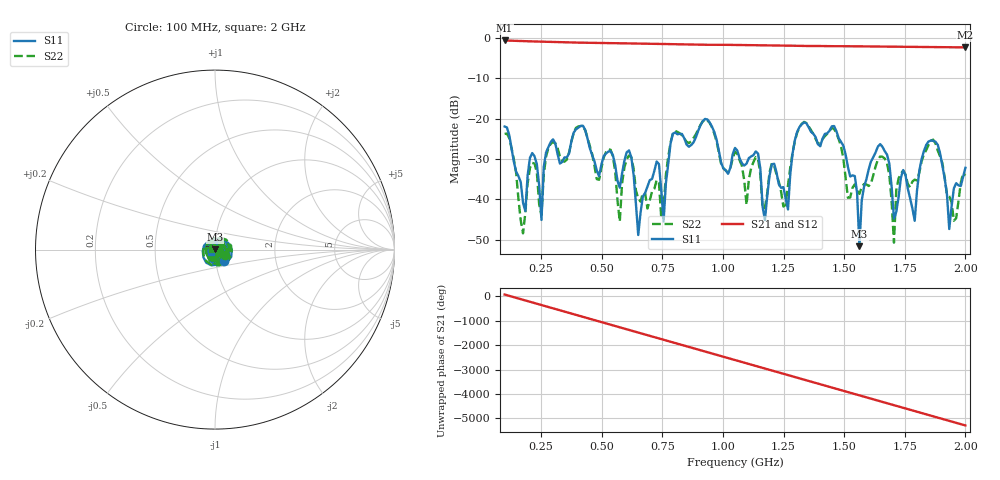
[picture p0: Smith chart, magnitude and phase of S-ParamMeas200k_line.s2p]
!Keysight Technologies,N5242B,MY48420967,A.15.65.19
!Date: Thursday, December 15, 2022 13:55:11
!Correction: S11(C  2-Port  )
!S21(C  2-Port  )
!S12(C  2-Port  )
!S22(C  2-Port  )
!S2P File: Measurements: S11, S21, S12, S22:
# Hz S  dB  R 50
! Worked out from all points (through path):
!   201 points, 100 MHz to 2 GHz, reference 50 ohm
!   highest |S21| = -0.69 dB at 100 MHz (marker M1); lowest = -2.4 dB at 2 GHz (marker M2)
!   group delay of S21, straight-line fit = 7.85 ns
!   lowest |S11| = -51.5 dB at 1.563 GHz (marker M3), VSWR 1.01, Z = 50.1 + j0.258 ohm
!   |S11| at or under -10 dB: start of sweep to end of sweep
!   |S22| runs from -50.7 to -20.3 dB; largest |S21 - S12| = 0.0011
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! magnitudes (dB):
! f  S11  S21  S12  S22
! 100 MHz  -22.0  -0.7  -0.7  -23.8
! 176 MHz  -40.8  -0.8  -0.9  -48.4
! 214 MHz  -28.5  -0.9  -0.9  -31.0
! 252 MHz  -45.1  -1.0  -1.0  -43.9
! 280.5 MHz  -27.0  -1.0  -1.0  -27.3
! 423 MHz  -21.8  -1.2  -1.2  -21.9
! 575 MHz  -37.1  -1.4  -1.4  -45.4
! 613 MHz  -27.9  -1.4  -1.4  -29.1
! 651 MHz  -48.8  -1.5  -1.5  -39.8
! 736.5 MHz  -31.3  -1.5  -1.5  -35.9
! 755.5 MHz  -45.5  -1.6  -1.6  -42.0
! 793.5 MHz  -23.7  -1.6  -1.6  -23.8
! 1.05 GHz  -27.3  -1.8  -1.8  -28.2
! 1.173 GHz  -45.1  -1.9  -1.9  -41.9
! 1.373 GHz  -23.8  -2.1  -2.1  -23.8
! 1.496 GHz  -26.7  -2.1  -2.1  -29.8
! 1.563 GHz  -51.5  -2.1  -2.2  -38.6
! 1.687 GHz  -31.2  -2.2  -2.2  -34.0
! 1.706 GHz  -44.7  -2.2  -2.2  -50.7
! 1.857 GHz  -25.4  -2.3  -2.3  -25.5
! 1.933 GHz  -47.3  -2.4  -2.4  -39.2
! 2 GHz  -32.2  -2.4  -2.4  -34.1
